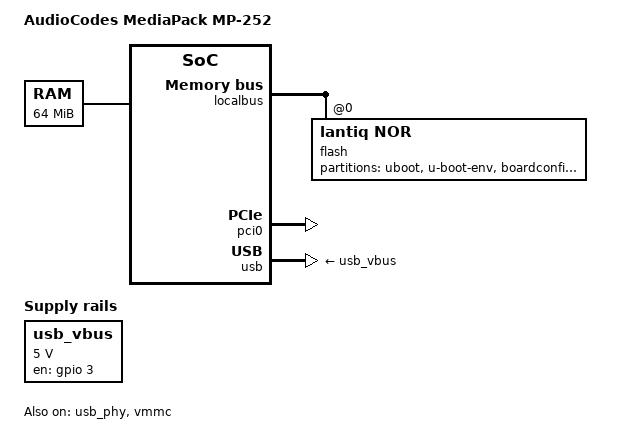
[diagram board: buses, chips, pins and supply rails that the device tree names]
#include "danube.dtsi"

/ {
	compatible = "audiocodes,mp-252", "lantiq,xway", "lantiq,danube";
	model = "AudioCodes MediaPack MP-252";

	chosen {
		bootargs = "console=ttyLTQ0,115200";
	};

	memory@0 {
		device_type = "memory";
		reg = <0x0 0x4000000>;
	};

	usb_vbus: regulator-usb-vbus {
		compatible = "regulator-fixed";

		regulator-name = "USB_VBUS";

		regulator-min-microvolt = <5000000>;
		regulator-max-microvolt = <5000000>;

		gpio = <&gpio 3 GPIO_ACTIVE_HIGH>;
		enable-active-high;
	};
};

&gpio {
	pinctrl-names = "default";
	pinctrl-0 = <&state_default>;

	state_default: pinmux {
		exin {
			lantiq,groups = "exin1";
			lantiq,function = "exin";
		};
	};
};

&gsw {
	phy-mode = "rmii";
};

&localbus {
	flash@0 {
		compatible = "lantiq,nor";
		bank-width = <2>;
		reg = <0 0x0 0x2000000>;

		partitions {
			compatible = "fixed-partitions";
			#address-cells = <1>;
			#size-cells = <1>;

			partition@0 {
				label = "uboot";
				reg = <0x0 0x20000>;
				read-only;
			};

			partition@20000 {
				label = "u-boot-env";
				reg = <0x20000 0x20000>;
			};

			partition@40000 {
				label = "boardconfig";
				reg = <0x40000 0x60000>;
				read-only;
			};

			partition@a0000 {
				label = "firmware";
				reg = <0xa0000 0xf20000>;
			};

			partition@fc0000 {
				label = "sysconfig";
				reg = <0xfc0000 0x40000>;
			};

			partition@1000000 {
				label = "rootfs_data";
				reg = <0x1000000 0x1000000>;
			};
		};
	};
};

&pci0 {
	status = "okay";

	pinctrl-0 = <&pci_gnt1_pins>, <&pci_req1_pins>;
	pinctrl-names = "default";
};

&usb_phy {
	status = "okay";
};

&usb {
	status = "okay";
	vbus-supply = <&usb_vbus>;
};

&vmmc {
	status = "okay";
	gpios = <&gpio 31 GPIO_ACTIVE_HIGH>;
};
